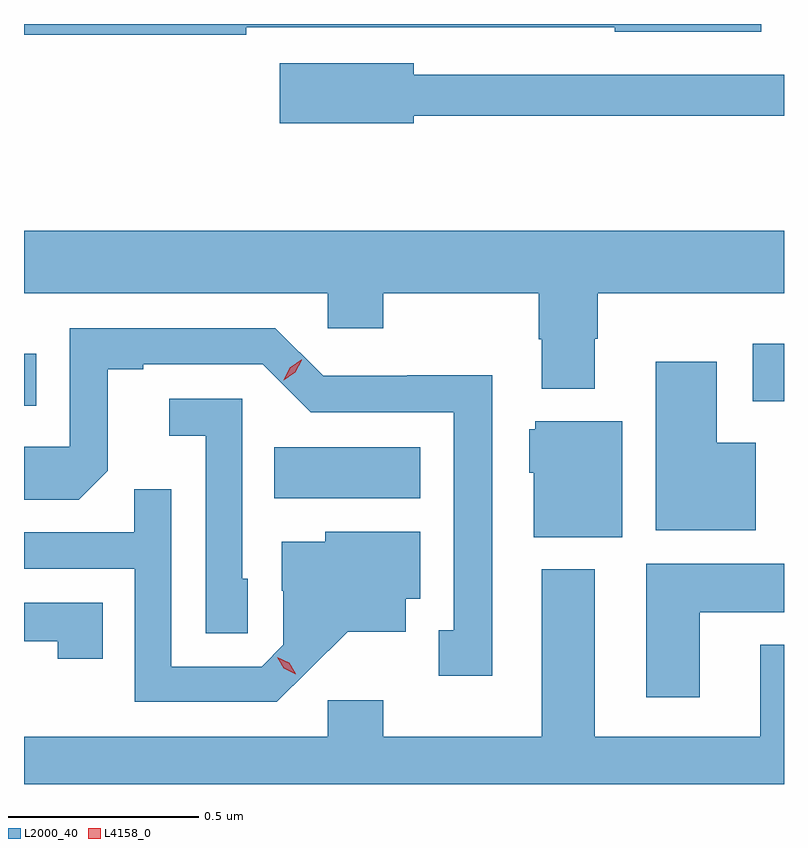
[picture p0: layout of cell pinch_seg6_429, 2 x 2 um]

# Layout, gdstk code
import gdstk
lib = gdstk.Library(unit=1e-6, precision=1e-09)
def R(c, l, rs):  # rectangles x0, y0, x1, y1
    for r in rs: c.add(gdstk.rectangle(r[:2], r[2:], *l))
def P(c, l, *ps):  # polygons
    for p in ps: c.add(gdstk.Polygon(p, *l))
L2000_40 = (2000, 40)
L4158_0 = (4158, 0)

pinch_seg6_429 = lib.new_cell('pinch_seg6_429')
R(pinch_seg6_429, L2000_40, [(650.854,922.82,651.238,922.954), (652.113,923.075,652.195,923.227)])
P(pinch_seg6_429, L2000_40, [(650.78,924.06),(651.75,924.06),(651.75,924.047),(652.135,924.047),(652.135,924.068),(650.195,924.068),(650.195,924.04),(650.78,924.04)],
  [(651.22,923.826),(652.195,923.826),(652.195,923.934),(651.22,923.934),(651.22,923.965),(650.868,923.965),(650.868,923.807),(651.22,923.807)],
  [(650.195,923.36),(650.994,923.36),(650.994,923.267),(651.141,923.267),(651.141,923.36),(651.55,923.36),(651.55,923.239),(651.557,923.239),(651.557,923.108),(651.697,923.108),(651.697,923.24),(651.705,923.24),(651.705,923.36),(652.195,923.36),(652.195,923.524),(650.195,923.524)],
  [(651.427,923.144),(651.204,923.144),(651.204,923.142),(650.982,923.142),(650.856,923.268),(650.316,923.268),(650.316,922.956),(650.195,922.956),(650.195,922.816),(650.339,922.816),(650.415,922.892),(650.415,923.16),(650.509,923.16),(650.509,923.172),(650.823,923.172),(650.949,923.046),(651.326,923.046),(651.326,922.473),(651.287,922.473),(651.287,922.353),(651.427,922.353)],
  [(650.196,923.064),(650.227,923.064),(650.227,923.2),(650.195,923.2),(650.195,923.063)],
  [(652.12,922.966),(652.018,922.966),(652.018,923.179),(651.857,923.179),(651.857,922.736),(652.12,922.736)],
  [(650.784,922.608),(650.769,922.608),(650.769,923.082),(650.577,923.082),(650.577,922.985),(650.673,922.985),(650.673,922.465),(650.784,922.465)],
  [(651.769,923.023),(651.54,923.023),(651.54,923.001),(651.524,923.001),(651.524,922.887),(651.536,922.887),(651.536,922.718),(651.769,922.718)],
  [(650.944,922.367),(651.047,922.469),(651.199,922.469),(651.199,922.556),(651.238,922.556),(651.238,922.732),(650.988,922.732),(650.988,922.705),(650.873,922.705),(650.873,922.576),(650.877,922.576),(650.877,922.434),(650.82,922.377),(650.583,922.377),(650.583,922.844),(650.485,922.844),(650.485,922.731),(650.195,922.731),(650.195,922.635),(650.487,922.635),(650.487,922.284),(650.86,922.284)],
  [(651.973,922.52),(652.195,922.52),(652.195,922.648),(651.833,922.648),(651.833,922.296),(651.973,922.296)],
  [(652.195,922.435),(652.133,922.435),(652.133,922.192),(651.697,922.192),(651.697,922.633),(651.557,922.633),(651.557,922.192),(651.141,922.192),(651.141,922.288),(650.994,922.288),(650.994,922.192),(650.195,922.192),(650.195,922.068),(652.195,922.068)],
  [(650.402,922.545),(650.195,922.545),(650.195,922.444),(650.284,922.444),(650.284,922.398),(650.402,922.398)])
P(pinch_seg6_429, L4158_0, [(650.878,923.131),(650.878,923.132),(650.894,923.164),(650.925,923.184),(650.926,923.184),(650.926,923.183),(650.909,923.151),(650.878,923.131)],
  [(650.91,922.357),(650.879,922.373),(650.861,922.402),(650.861,922.402),(650.862,922.402),(650.893,922.387),(650.91,922.358),(650.91,922.357)])

lib.write_gds('pinch_seg6_429.gds')
